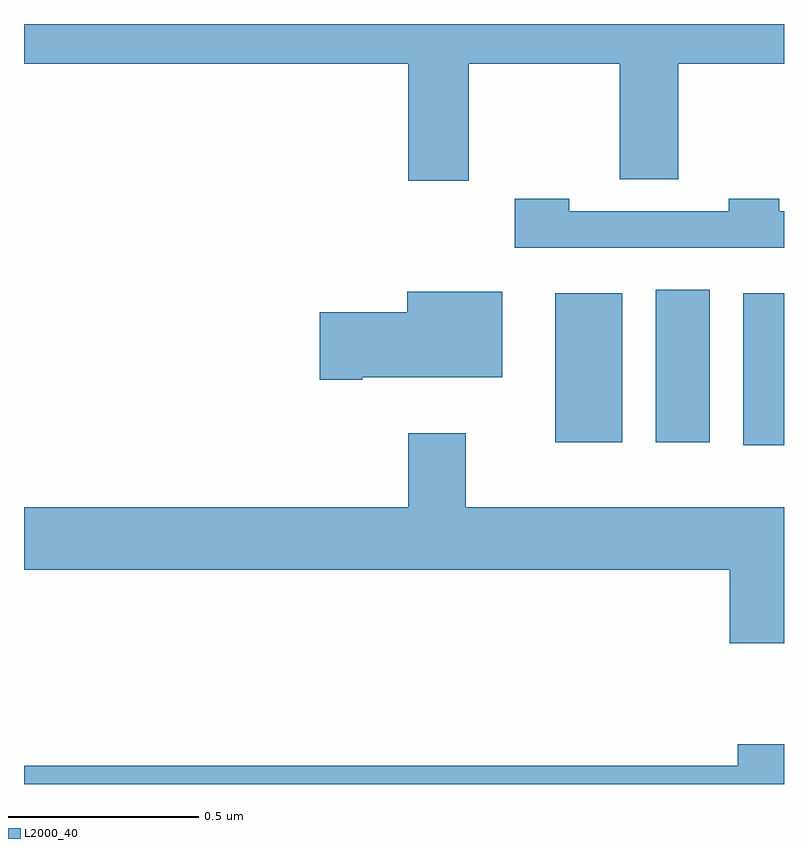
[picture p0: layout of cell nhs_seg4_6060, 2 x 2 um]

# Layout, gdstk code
import gdstk
lib = gdstk.Library(unit=1e-6, precision=1e-09)
def R(c, l, rs):  # rectangles x0, y0, x1, y1
    for r in rs: c.add(gdstk.rectangle(r[:2], r[2:], *l))
def P(c, l, *ps):  # polygons
    for p in ps: c.add(gdstk.Polygon(p, *l))
L2000_40 = (2000, 40)

nhs_seg4_6060 = lib.new_cell('nhs_seg4_6060')
R(nhs_seg4_6060, L2000_40, [(186.893,819.792,187,820.192), (186.398,819.8,186.574,820.192), (186.662,819.8,186.805,820.201)])
P(nhs_seg4_6060, L2000_40, [(186.171,820.796),(186.568,820.796),(186.568,820.492),(186.722,820.492),(186.722,820.796),(187,820.796),(187,820.9),(185,820.9),(185,820.796),(186.011,820.796),(186.011,820.488),(186.171,820.488)],
  [(187,820.407),(186.987,820.407),(186.987,820.44),(186.855,820.44),(186.855,820.407),(186.435,820.407),(186.435,820.44),(186.291,820.44),(186.291,820.311),(187,820.311)],
  [(185.89,819.971),(186.259,819.971),(186.259,820.195),(186.008,820.195),(186.008,820.142),(185.778,820.142),(185.778,819.964),(185.89,819.964)],
  [(187,819.628),(186.163,819.628),(186.163,819.823),(186.011,819.823),(186.011,819.628),(185,819.628),(185,819.464),(186.857,819.464),(186.857,819.27),(187,819.27)],
  [(187,819.004),(186.878,819.004),(186.878,818.948),(185,818.948),(185,818.9),(187,818.9)])

lib.write_gds('nhs_seg4_6060.gds')
